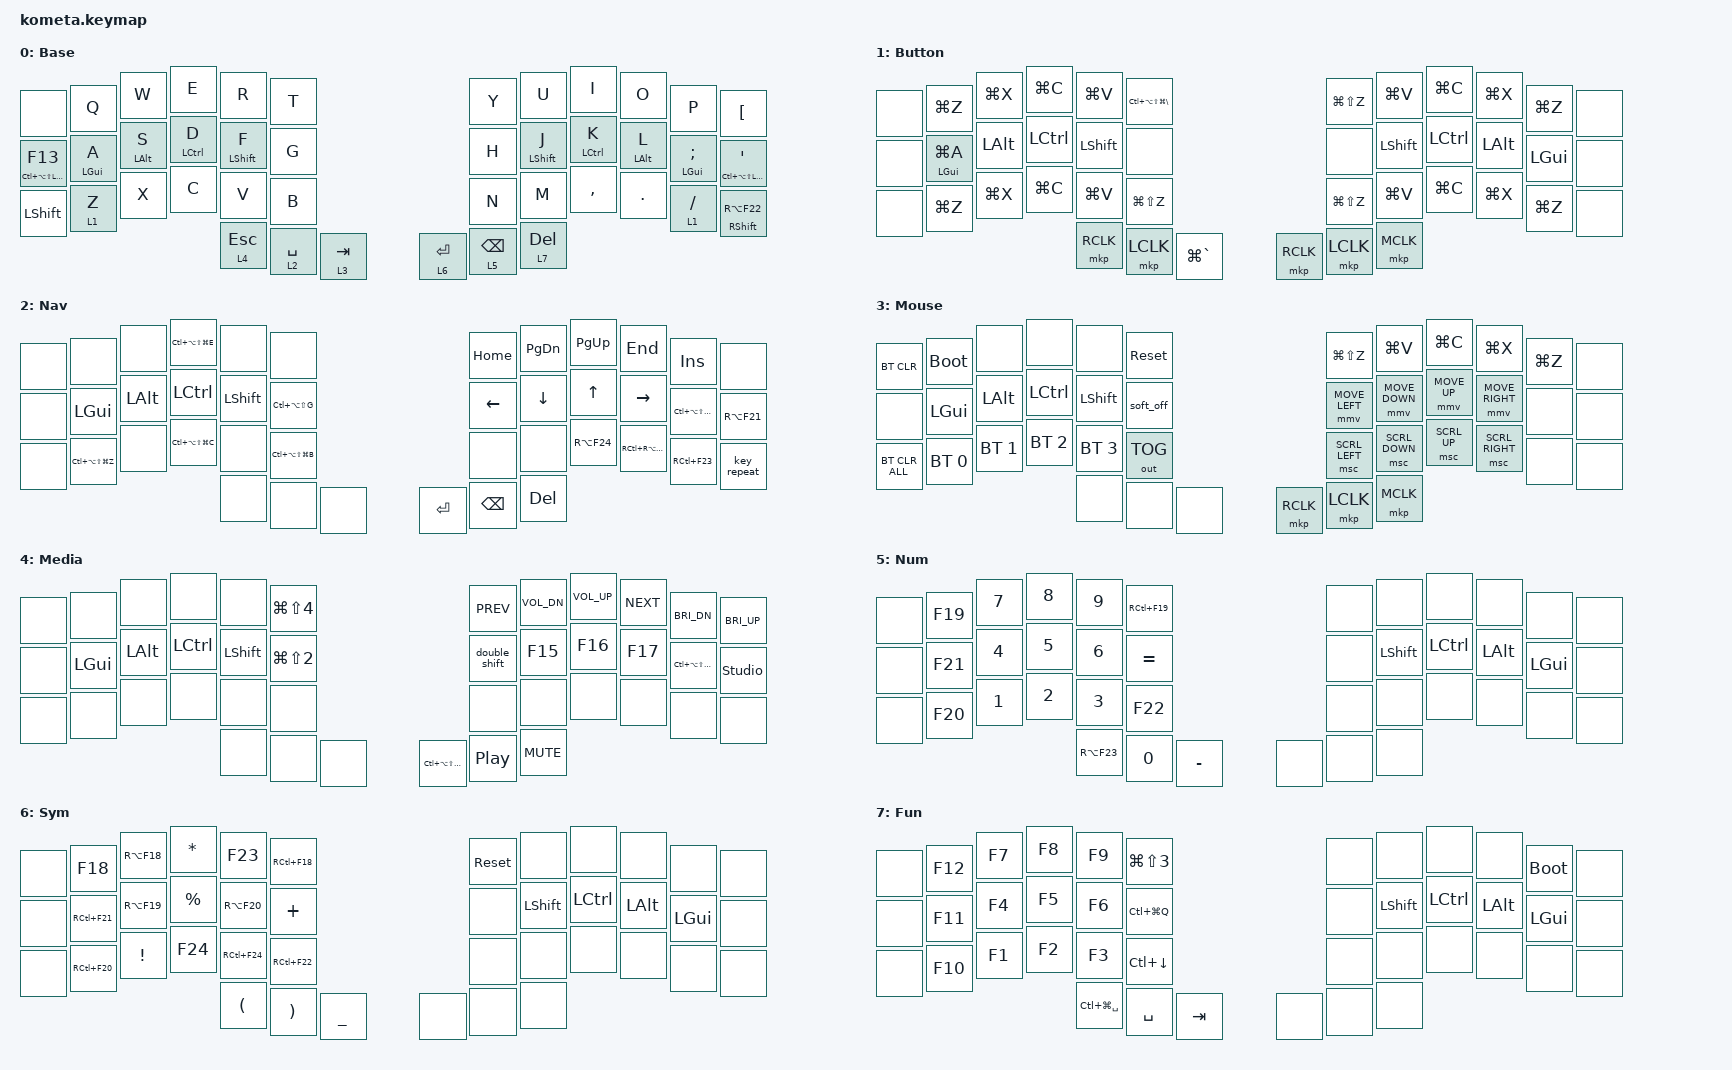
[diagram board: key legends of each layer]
#include <behaviors.dtsi>

#include <dt-bindings/zmk/bt.h>
#include <dt-bindings/zmk/ext_power.h>
#include <dt-bindings/zmk/keys.h>
#include <dt-bindings/zmk/outputs.h>
#include <dt-bindings/zmk/pointing.h>

/*
 * KOMETA 42-key:
 *   - Miryoku QWERTY layer organization with MIRYOKU_NAV=VI
 *   - urob-style positional home-row mods
 *   - maintenance actions on the hold side of Mouse and Fun
 *   - native ZMK Caps Word / Key Repeat support
 *
 * Physical position order in KOMETA:
 *   row 1:  0..11
 *   row 2: 12..23
 *   row 3: 24..35
 *   thumbs: 36..41
 */

/* Layer indices:
 * 0 Base, 1 Button, 2 Nav, 3 Mouse, 4 Media, 5 Num, 6 Sym, 7 Fun
 */

/* Miryoku thumb layer-taps stay deliberately simple/predictable. */
&lt {
    flavor = "tap-preferred";
    tapping-term-ms = <200>;
};

/* Sticky Shift on Base: combo F+J. */
&sk {
    release-after-ms = <900>;
    quick-release;
};

/* Keep Caps Word active across snake_case and kebab-case. */
&caps_word {
    continue-list = <UNDERSCORE MINUS BACKSPACE DELETE>;
};

/* Keep the standard binding name, but wait for both keys of Tab + G. */
&soft_off {
    compatible = "zmk,behavior-kometa-soft-off";
    /delete-property/ split-peripheral-off-on-press;
};

/ {
    behaviors {
        /*
         * urob-style home-row mods.
         * Left HRM holds only cleanly with the right physical half or thumbs.
         */
        hml: hml {
            compatible = "zmk,behavior-hold-tap";
            label = "HRM Left";
            #binding-cells = <2>;
            bindings = <&kp>, <&kp>;
            flavor = "balanced";
            tapping-term-ms = <280>;
            quick-tap-ms = <175>;
            require-prior-idle-ms = <150>;
            hold-trigger-on-release;
            hold-trigger-key-positions = <
                6 7 8 9 10 11
                18 19 20 21 22 23
                30 31 32 33 34 35
                36 37 38 39 40 41
            >;
        };

        /* Right-hand mirror of hml. */
        hmr: hmr {
            compatible = "zmk,behavior-hold-tap";
            label = "HRM Right";
            #binding-cells = <2>;
            bindings = <&kp>, <&kp>;
            flavor = "balanced";
            tapping-term-ms = <280>;
            quick-tap-ms = <175>;
            require-prior-idle-ms = <150>;
            hold-trigger-on-release;
            hold-trigger-key-positions = <
                0 1 2 3 4 5
                12 13 14 15 16 17
                24 25 26 27 28 29
                36 37 38 39 40 41
            >;
        };

        /* Hold Z or Slash for Button; tap them normally during typing. */
        btl: bottom_layer_tap {
            compatible = "zmk,behavior-hold-tap";
            label = "Bottom Layer Tap";
            #binding-cells = <2>;
            bindings = <&mo>, <&kp>;
            flavor = "tap-preferred";
            tapping-term-ms = <220>;
            quick-tap-ms = <175>;
            require-prior-idle-ms = <150>;
        };

        /* Let a rolling comma then Space resolve as a tap before Space. */
        comma_mt: comma_mod_tap {
            compatible = "zmk,behavior-hold-tap";
            #binding-cells = <2>;
            bindings = <&kp>, <&kp>;
            flavor = "hold-preferred";
            tapping-term-ms = <200>;
            hold-trigger-key-positions = <
                0 1 2 3 4 5 6 7 8 9 10 11
                12 13 14 15 16 17 18 19 20 21 22 23
                24 25 26 27 28 29 30 31 32 33 34 35
                36    38 39 40 41
            >;
        };

    };

    macros {
        double_shift: double_shift {
            compatible = "zmk,behavior-macro";
            #binding-cells = <0>;

            wait-ms = <40>;
            tap-ms = <40>;

            bindings = <&kp LSHFT &kp LSHFT>;
        };
    };

    combos {
        compatible = "zmk,combos";

        combo_sticky_shift {
            timeout-ms = <55>;
            key-positions = <16 19>;
            bindings = <&sk LSHFT>;
            layers = <0>;
        };

        combo_delete_word {
            timeout-ms = <55>;
            key-positions = <14 40>;
            bindings = <&kp LA(BSPC)>;
            layers = <0>;
        };
    };

    keymap {
        compatible = "zmk,keymap";

        base_layer {
            display-name = "Base";
            bindings = <
                /* outer */ &none  &kp Q  &kp W  &kp E  &kp R  &kp T    &kp Y  &kp U  &kp I  &kp O  &kp P  &kp LEFT_BRACKET /* outer */
                /* outer */ &mt LC(LA(LS(LGUI))) F13  &hml LGUI A  &hml LALT S  &hml LCTRL D  &hml LSHFT F  &kp G    &kp H  &hmr LSHFT J  &hmr LCTRL K  &hmr LALT L  &hmr LGUI SEMI  &mt LC(LA(LS(LGUI))) SQT /* outer */
                /* outer */ &kp LSHFT  &btl 1 Z  &kp X  &kp C  &kp V  &kp B    &kp N  &kp M  &kp COMMA  &kp DOT  &btl 1 SLASH  &comma_mt RSHFT RA(F22) /* outer */

                &lt 4 ESC  &lt 2 SPACE  &lt 3 TAB    &lt 6 RET  &lt 5 BSPC  &lt 7 DEL
            >;
        };

        button_layer {
            display-name = "Button";
            bindings = <
                &none  &kp LG(Z)  &kp LG(X)  &kp LG(C)  &kp LG(V)  &kp LC(LA(LS(LG(BSLH))))    &kp LG(LS(Z))  &kp LG(V)  &kp LG(C)  &kp LG(X)  &kp LG(Z)  &none
                &none  &mt LGUI LG(A)  &kp LALT  &kp LCTRL  &kp LSHFT  &none        &none  &kp LSHFT  &kp LCTRL  &kp LALT   &kp LGUI   &none
                &none  &kp LG(Z)  &kp LG(X)  &kp LG(C)  &kp LG(V)  &kp LG(LS(Z))    &kp LG(LS(Z))  &kp LG(V)  &kp LG(C)  &kp LG(X)  &kp LG(Z)  &none

                &mkp RCLK  &mkp LCLK  &kp LG(GRAVE)   &mkp RCLK  &mkp LCLK  &mkp MCLK
            >;
        };

        nav_layer {
            display-name = "Nav";
            bindings = <
                &none  &none  &none  &kp LC(LA(LS(LG(E))))  &none  &none    &kp HOME  &kp PG_DN  &kp PG_UP  &kp END  &kp INS  &none
                &none  &kp LGUI  &kp LALT  &kp LCTRL  &kp LSHFT  &kp LC(LA(LS(G)))    &kp LEFT  &kp DOWN  &kp UP  &kp RIGHT  &kp LC(LA(LS(LG(F12))))  &kp RA(F21)
                &none  &kp LC(LA(LS(LG(Z))))  &none  &kp LC(LA(LS(LG(C))))  &none  &kp LC(LA(LS(LG(B))))    &none  &none  &kp RA(F24)  &kp RC(RA(F24))  &kp RC(F23)  &key_repeat

                &none  &none  &none    &kp RET  &kp BSPC  &kp DEL
            >;
        };

        mouse_layer {
            display-name = "Mouse";
            bindings = <
                &bt BT_CLR  &bootloader  &none  &none  &none  &sys_reset    &kp LG(LS(Z))  &kp LG(V)  &kp LG(C)  &kp LG(X)  &kp LG(Z)  &none
                &none  &kp LGUI  &kp LALT  &kp LCTRL  &kp LSHFT  &soft_off    &mmv MOVE_LEFT  &mmv MOVE_DOWN  &mmv MOVE_UP  &mmv MOVE_RIGHT  &none  &none
                &bt BT_CLR_ALL  &bt BT_SEL 0  &bt BT_SEL 1  &bt BT_SEL 2  &bt BT_SEL 3  &out OUT_TOG     &msc SCRL_LEFT  &msc SCRL_DOWN  &msc SCRL_UP  &msc SCRL_RIGHT  &none  &none

                &none  &none  &none    &mkp RCLK  &mkp LCLK  &mkp MCLK
            >;
        };

        media_layer {
            display-name = "Media";
            bindings = <
                &none  &none  &none  &none  &none  &kp LG(LS(N4))   &kp C_PREV  &kp C_VOL_DN  &kp C_VOL_UP  &kp C_NEXT  &kp C_BRI_DN  &kp C_BRI_UP
                &none  &kp LGUI  &kp LALT  &kp LCTRL  &kp LSHFT  &kp LG(LS(N2))    &double_shift  &kp F15  &kp F16  &kp F17  &kp LC(LA(LS(LG(F1))))  &studio_unlock
                &none  &none  &none  &none  &none  &none    &none  &none  &none  &none  &none  &none
                &none  &none  &none    &kp LC(LA(LS(LG(F9))))  &kp C_PP  &kp C_MUTE
            >;
        };

        num_layer {
            display-name = "Num";
            bindings = <
                &none  &kp F19  &kp N7  &kp N8  &kp N9  &kp RC(F19)    &none  &none  &none  &none  &none  &none
                &none  &kp F21  &kp N4  &kp N5  &kp N6  &kp EQUAL      &none  &kp LSHFT  &kp LCTRL  &kp LALT  &kp LGUI  &none
                &none  &kp F20  &kp N1  &kp N2  &kp N3  &kp F22        &none  &none  &none  &none  &none  &none
                &kp RA(F23)  &kp N0  &kp MINUS    &none  &none  &none
            >;
        };

        /* Unifying the display of special characters across different language layouts using F-keys. */
        sym_layer {
            display-name = "Sym";
            bindings = <
                &none  &kp F18      &kp RA(F18)  &kp ASTRK  &kp F23     &kp RC(F18)    &sys_reset  &none  &none  &none  &none  &none
                &none  &kp RC(F21)  &kp RA(F19)  &kp PRCNT  &kp RA(F20) &kp PLUS       &none  &kp LSHFT  &kp LCTRL  &kp LALT  &kp LGUI  &none
                &none  &kp RC(F20)  &kp EXCL     &kp F24    &kp RC(F24) &kp RC(F22)    &none  &none  &none  &none  &none  &none
                &kp LPAR  &kp RPAR  &kp UNDER    &none  &none  &none
            >;
        };

        fun_layer {
            display-name = "Fun";
            bindings = <
                &none  &kp F12  &kp F7  &kp F8  &kp F9  &kp LG(LS(N3))    &none  &none  &none  &none  &bootloader  &none
                &none  &kp F11  &kp F4  &kp F5  &kp F6  &kp LC(LG(Q))     &none  &kp LSHFT  &kp LCTRL  &kp LALT  &kp LGUI  &none
                &none  &kp F10  &kp F1  &kp F2  &kp F3  &kp LC(DOWN)    &none  &none  &none  &none  &none  &none
                &kp LC(LG(SPACE))  &kp SPACE  &kp TAB    &none  &none  &none
            >;
        };
    };
};
